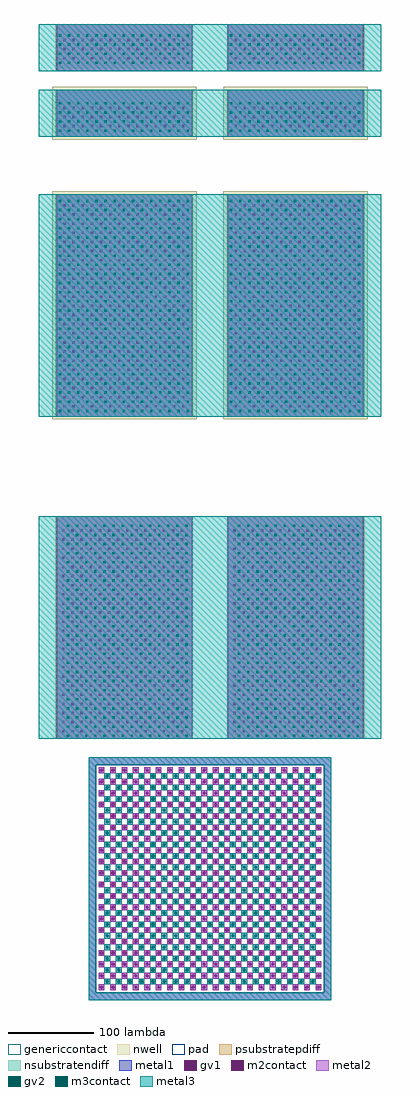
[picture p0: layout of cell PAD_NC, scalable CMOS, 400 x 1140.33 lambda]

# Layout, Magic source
magic
tech scmos
magscale 1 30
<< metal3 >>
rect 0 23400 12000 25060
rect 0 21100 12000 22760
rect 0 11300 12000 19100
rect 0 0 12000 7800
use IOFILLER50  IOFILLER50_0 ~/ETRI050_DesignKit/pads_ETRI/GDS_Magic
transform 1 0 6500 0 1 0
box -35 0 5035 25060
use IOFILLER50  IOFILLER50_1
transform 1 0 500 0 1 0
box -35 0 5035 25060
use pad80_CDNS_704676826050  pad80_CDNS_704676826050_0 ~/ETRI050_DesignKit/pads_ETRI/GDS_Magic
transform 1 0 1750 0 1 -9150
box 0 0 8500 8500
<< end >>

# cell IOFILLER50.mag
magic
tech scmos
magscale 1 6
<< nwell >>
rect -7 4201 1007 4571
rect -7 2241 1007 3839
<< psubstratepdiff >>
rect 20 4680 980 5012
rect 20 0 980 1560
<< nsubstratendiff >>
rect 20 4220 980 4552
rect 20 2260 980 3820
<< metal1 >>
rect 24 4680 976 5012
rect 24 4220 976 4552
rect 24 2260 976 3820
rect 24 0 976 1560
<< metal2 >>
rect 24 4680 976 5012
rect 24 4220 976 4552
rect 24 2260 976 3820
rect 24 0 976 1560
<< metal3 >>
rect 0 4680 1000 5012
rect 0 4220 1000 4552
rect 0 2260 1000 3820
rect 0 0 1000 1560
use CONT  CONT_0
array 0 13 64 0 23 64
transform 1 0 104 0 1 22
box -6 -6 6 6
use CONT  CONT_1
array 0 14 64 0 23 64
transform 1 0 48 0 1 2300
box -6 -6 6 6
use CONT  CONT_2
array 0 14 64 0 3 64
transform 1 0 48 0 1 4264
box -6 -6 6 6
use CONT  CONT_3
array 0 14 64 0 3 64
transform 1 0 48 0 1 4740
box -6 -6 6 6
use VIA1  VIA1_0
array 0 13 64 0 22 64
transform 1 0 80 0 1 2332
box -8 -8 8 8
use VIA1  VIA1_1
array 0 13 64 0 22 64
transform 1 0 72 0 1 54
box -8 -8 8 8
use VIA1  VIA1_2
array 0 13 64 0 2 64
transform 1 0 80 0 1 4296
box -8 -8 8 8
use VIA1  VIA1_3
array 0 13 64 0 2 64
transform 1 0 80 0 1 4772
box -8 -8 8 8
use VIA2  VIA2_0
array 0 13 64 0 23 64
transform 1 0 104 0 1 22
box -8 -8 8 8
use VIA2  VIA2_1
array 0 14 64 0 23 64
transform 1 0 48 0 1 2300
box -8 -8 8 8
use VIA2  VIA2_2
array 0 14 64 0 3 64
transform 1 0 48 0 1 4264
box -8 -8 8 8
use VIA2  VIA2_3
array 0 14 64 0 3 64
transform 1 0 48 0 1 4740
box -8 -8 8 8
<< end >>

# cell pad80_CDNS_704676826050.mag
magic
tech scmos
magscale 1 3
<< metal1 >>
rect 0 825 850 850
rect 0 25 25 825
rect 825 25 850 825
rect 0 0 850 25
<< metal2 >>
rect 0 825 850 850
rect 0 25 25 825
rect 825 25 850 825
rect 0 0 850 25
<< metal3 >>
rect 0 825 850 850
rect 0 25 25 825
rect 825 25 850 825
rect 0 0 850 25
<< pad >>
rect 25 25 825 825
use via1_array_CDNS_704676826051  via1_array_CDNS_704676826051_0
array 0 19 40 0 19 40
transform 1 0 35 0 1 35
box 0 0 20 20
use via2_array_CDNS_704676826052  via2_array_CDNS_704676826052_0
array 0 18 40 0 18 40
transform 1 0 55 0 1 55
box 0 0 20 20
<< end >>

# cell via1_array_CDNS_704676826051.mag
magic
tech scmos
magscale 1 3
<< metal1 >>
rect 0 14 20 20
rect 0 6 6 14
rect 14 6 20 14
rect 0 0 20 6
<< m2contact >>
rect 6 6 14 14
<< metal2 >>
rect 0 14 20 20
rect 0 6 6 14
rect 14 6 20 14
rect 0 0 20 6
<< end >>

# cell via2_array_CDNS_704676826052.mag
magic
tech scmos
magscale 1 3
<< metal2 >>
rect 0 14 20 20
rect 0 6 6 14
rect 14 6 20 14
rect 0 0 20 6
<< m3contact >>
rect 6 6 14 14
<< metal3 >>
rect 0 14 20 20
rect 0 6 6 14
rect 14 6 20 14
rect 0 0 20 6
<< end >>

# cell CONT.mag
magic
tech scmos
<< genericcontact >>
rect -1 -1 1 1
<< end >>

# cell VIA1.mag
magic
tech scmos
magscale 1 3
<< gv1 >>
rect -4 -4 4 4
<< end >>

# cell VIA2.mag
magic
tech scmos
magscale 1 3
<< gv2 >>
rect -4 -4 4 4
<< end >>
